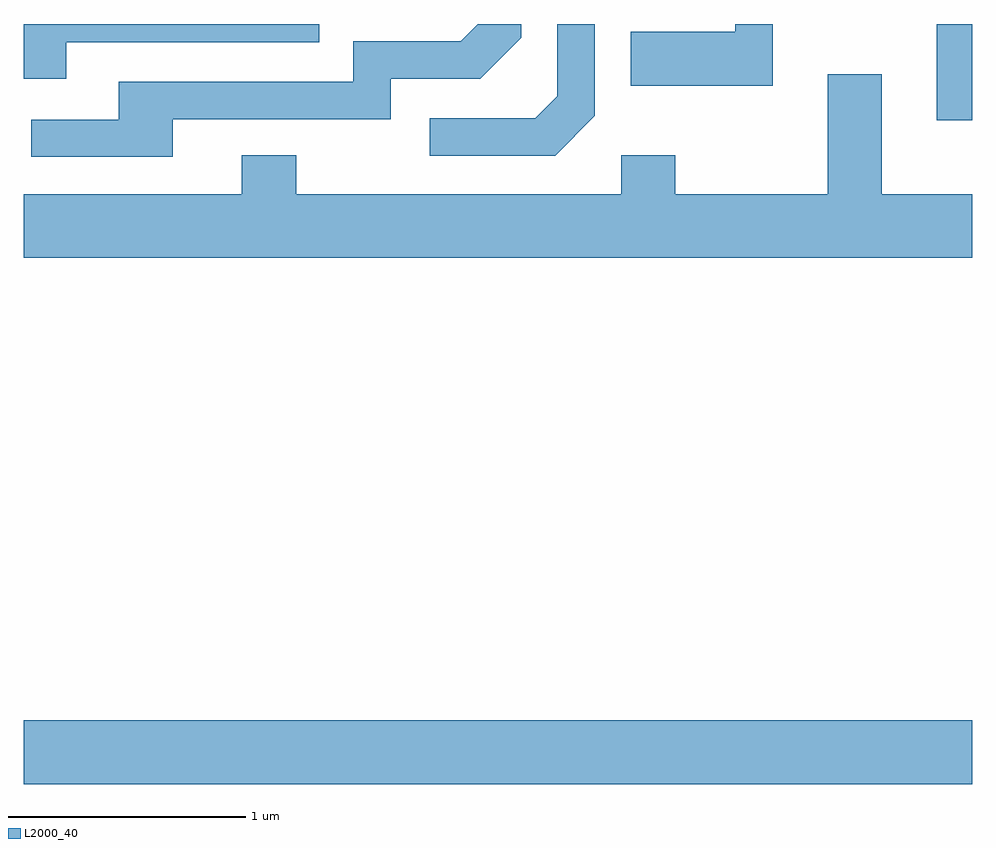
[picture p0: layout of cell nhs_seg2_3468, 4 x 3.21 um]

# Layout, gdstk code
import gdstk
lib = gdstk.Library(unit=1e-6, precision=1e-09)
def R(c, l, rs):  # rectangles x0, y0, x1, y1
    for r in rs: c.add(gdstk.rectangle(r[:2], r[2:], *l))
def P(c, l, *ps):  # polygons
    for p in ps: c.add(gdstk.Polygon(p, *l))
L2000_40 = (2000, 40)

nhs_seg2_3468 = lib.new_cell('nhs_seg2_3468')
R(nhs_seg2_3468, L2000_40, [(287.611,990.596,291.611,990.864), (291.461,993.396,291.611,993.802)])
P(nhs_seg2_3468, L2000_40, [(287.789,993.726),(288.858,993.726),(288.858,993.802),(287.611,993.802),(287.611,993.571),(287.789,993.571)],
  [(290.769,993.802),(290.611,993.802),(290.611,993.769),(290.171,993.769),(290.171,993.541),(290.769,993.541)],
  [(290.019,993.414),(290.019,993.802),(289.861,993.802),(289.861,993.497),(289.769,993.404),(289.323,993.404),(289.323,993.246),(289.852,993.246)],
  [(288.239,993.401),(289.159,993.401),(289.159,993.571),(289.537,993.571),(289.709,993.744),(289.709,993.802),(289.526,993.802),(289.454,993.729),(289.001,993.729),(289.001,993.559),(288.011,993.559),(288.011,993.399),(287.643,993.399),(287.643,993.241),(288.239,993.241)],
  [(291.611,993.084),(291.229,993.084),(291.229,993.589),(291.001,993.589),(291.001,993.084),(290.359,993.084),(290.359,993.249),(290.131,993.249),(290.131,993.084),(288.759,993.084),(288.759,993.249),(288.531,993.249),(288.531,993.084),(287.611,993.084),(287.611,992.816),(291.611,992.816)])

lib.write_gds('nhs_seg2_3468.gds')
